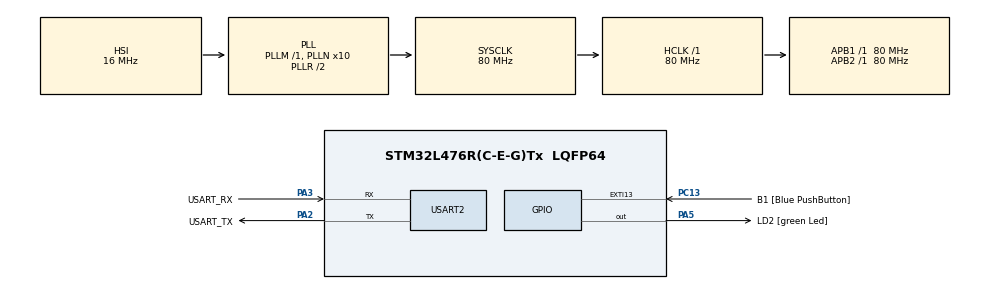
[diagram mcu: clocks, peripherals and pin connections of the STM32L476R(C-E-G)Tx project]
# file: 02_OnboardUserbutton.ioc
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Mcu.Family=STM32L4
Mcu.Name=STM32L476R(C-E-G)Tx
Mcu.Package=LQFP64
NVIC.PriorityGroup=NVIC_PRIORITYGROUP_4
PA13\ (JTMS-SWDIO).GPIO_Label=TMS
PA13\ (JTMS-SWDIO).Mode=Serial_Wire
PA13\ (JTMS-SWDIO).Signal=SYS_JTMS-SWDIO
PA14\ (JTCK-SWCLK).GPIO_Label=TCK
PA14\ (JTCK-SWCLK).Mode=Serial_Wire
PA14\ (JTCK-SWCLK).Signal=SYS_JTCK-SWCLK
PA2.GPIO_Label=USART_TX
PA2.GPIO_Mode=GPIO_MODE_AF_PP
PA2.GPIO_PuPd=GPIO_NOPULL
PA2.GPIO_Speed=GPIO_SPEED_FREQ_VERY_HIGH
PA2.Mode=Asynchronous
PA2.Signal=USART2_TX
PA3.GPIO_Label=USART_RX
PA3.GPIO_Mode=GPIO_MODE_AF_PP
PA3.GPIO_PuPd=GPIO_NOPULL
PA3.GPIO_Speed=GPIO_SPEED_FREQ_VERY_HIGH
PA3.Mode=Asynchronous
PA3.Signal=USART2_RX
PA5.GPIO_Label=LD2 [green Led]
PA5.GPIO_ModeDefaultOutputPP=GPIO_MODE_OUTPUT_PP
PA5.GPIO_PuPd=GPIO_NOPULL
PA5.GPIO_Speed=GPIO_SPEED_FREQ_LOW
PA5.Signal=GPIO_Output
PB3\ (JTDO-TRACESWO).GPIO_Label=SWO
PB3\ (JTDO-TRACESWO).Signal=SYS_JTDO-SWO
PC13.GPIO_Label=B1 [Blue PushButton]
PC13.GPIO_ModeDefaultEXTI=GPIO_MODE_IT_FALLING
PC13.GPIO_PuPd=GPIO_NOPULL
PC13.Signal=GPXTI13
PC14-OSC32_IN\ (PC14).Mode=LSE-External-Oscillator
PC14-OSC32_IN\ (PC14).Signal=RCC_OSC32_IN
PC15-OSC32_OUT\ (PC15).Mode=LSE-External-Oscillator
PC15-OSC32_OUT\ (PC15).Signal=RCC_OSC32_OUT
PH0-OSC_IN\ (PH0).Signal=RCC_OSC_IN
PH1-OSC_OUT\ (PH1).Signal=RCC_OSC_OUT
ProjectManager.HeapSize=0x200
ProjectManager.StackSize=0x400
ProjectManager.TargetToolchain=STM32CubeIDE
RCC.ADCFreq_Value=64000000
RCC.AHBFreq_Value=80000000
RCC.APB1Freq_Value=80000000
RCC.APB1TimFreq_Value=80000000
RCC.APB2Freq_Value=80000000
RCC.APB2TimFreq_Value=80000000
RCC.CortexFreq_Value=80000000
RCC.HCLKFreq_Value=80000000
RCC.HSE_VALUE=8000000
RCC.HSI_VALUE=16000000
RCC.MSI_VALUE=4000000
RCC.PLLN=10
RCC.PLLSourceVirtual=RCC_PLLSOURCE_HSI
RCC.PREFETCH_ENABLE=1
RCC.SYSCLKFreq_VALUE=80000000
RCC.SYSCLKSource=RCC_SYSCLKSOURCE_PLLCLK
RCC.USBFreq_Value=64000000
RCC.VCOOutputFreq_Value=160000000
USART2.VirtualMode-Asynchronous=VM_ASYNC
board=NUCLEO-L476RG

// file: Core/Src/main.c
/* USER CODE BEGIN Header */
/**
  ******************************************************************************
  * @file           : main.c
  * @brief          : Main program body
  ******************************************************************************
  * @attention
  *
  * Copyright (c) 2025 STMicroelectronics.
  * All rights reserved.
  *
  * This software is licensed under terms that can be found in the LICENSE file
  * in the root directory of this software component.
  * If no LICENSE file comes with this software, it is provided AS-IS.
  *
  ******************************************************************************
  */
/* USER CODE END Header */
#include "main.h"

/* USER CODE BEGIN Includes */
#include <stdbool.h>
#include <stdio.h>
#include <stdarg.h>
/* USER CODE END Includes */

/* USER CODE BEGIN PD */
#define PRIME_LEN 62
/* USER CODE END PD */

UART_HandleTypeDef huart2;

/* USER CODE BEGIN PV */
uint16_t primes[PRIME_LEN]={0};
/* USER CODE END PV */

void SystemClock_Config(void);
static void MX_GPIO_Init(void);
static void MX_USART2_UART_Init(void);

/* USER CODE BEGIN 0 */
bool is_prime(uint16_t v){
	for(uint16_t i=2;i<(v/2+1);i++){
		if(v%i==0) return false;
	}
	return true;
}
void debug_printf(const char *fmt, ...) {
  char buffer[256];
  va_list args;
  va_start(args, fmt);
  vsnprintf(buffer, sizeof(buffer), fmt, args);
  va_end(args);

  uint16_t i = 0;
  while(buffer[i] != '\0') {
    ITM_SendChar(buffer[i]);
    i++;
  }

}
/* USER CODE END 0 */

int main(void)
{

  /* MCU Configuration--------------------------------------------------------*/

  /* Reset of all peripherals, Initializes the Flash interface and the Systick. */
  HAL_Init();

  /* Configure the system clock */
  SystemClock_Config();

  /* Initialize all configured peripherals */
  MX_GPIO_Init();
  MX_USART2_UART_Init();
  /* USER CODE BEGIN 2 */
//calculate list of primes
  uint16_t prime_index=0;

    for(uint16_t i=2;i<300;i++){
  	  if(is_prime(i)){
  		  primes[prime_index]=i;
  		  prime_index++;
  	  }
    }
    bool flag=true;
  /* USER CODE END 2 */

  /* Infinite loop */
  while (1)
  {

    /* USER CODE BEGIN 3 */
	  HAL_GPIO_TogglePin(LD2_GPIO_Port, LD2_Pin);
	  	  if(flag==true){
	  		  debug_printf("LED_ON\n");
	  		  flag=false;
	  	  }
	  	  else{
	  		  debug_printf("LED_OFF\n");
	  		  flag=true;
	  	  }
	  	  HAL_UART_Transmit(&huart2, (uint8_t*)"Hello world, this is a UART\r\n", 30, 1000);
	  	  HAL_Delay(1000);

	    }

  }
  /* USER CODE END 3 */

void SystemClock_Config(void)
{
  RCC_OscInitTypeDef RCC_OscInitStruct = {0};
  RCC_ClkInitTypeDef RCC_ClkInitStruct = {0};

  /** Configure the main internal regulator output voltage
  */
  if (HAL_PWREx_ControlVoltageScaling(PWR_REGULATOR_VOLTAGE_SCALE1) != HAL_OK)
  {
    Error_Handler();
  }

  /** Initializes the RCC Oscillators according to the specified parameters
  * in the RCC_OscInitTypeDef structure.
  */
  RCC_OscInitStruct.OscillatorType = RCC_OSCILLATORTYPE_HSI;
  RCC_OscInitStruct.HSIState = RCC_HSI_ON;
  RCC_OscInitStruct.HSICalibrationValue = RCC_HSICALIBRATION_DEFAULT;
  RCC_OscInitStruct.PLL.PLLState = RCC_PLL_ON;
  RCC_OscInitStruct.PLL.PLLSource = RCC_PLLSOURCE_HSI;
  RCC_OscInitStruct.PLL.PLLM = 1;
  RCC_OscInitStruct.PLL.PLLN = 10;
  RCC_OscInitStruct.PLL.PLLP = RCC_PLLP_DIV7;
  RCC_OscInitStruct.PLL.PLLQ = RCC_PLLQ_DIV2;
  RCC_OscInitStruct.PLL.PLLR = RCC_PLLR_DIV2;
  if (HAL_RCC_OscConfig(&RCC_OscInitStruct) != HAL_OK)
  {
    Error_Handler();
  }

  /** Initializes the CPU, AHB and APB buses clocks
  */
  RCC_ClkInitStruct.ClockType = RCC_CLOCKTYPE_HCLK|RCC_CLOCKTYPE_SYSCLK
                              |RCC_CLOCKTYPE_PCLK1|RCC_CLOCKTYPE_PCLK2;
  RCC_ClkInitStruct.SYSCLKSource = RCC_SYSCLKSOURCE_PLLCLK;
  RCC_ClkInitStruct.AHBCLKDivider = RCC_SYSCLK_DIV1;
  RCC_ClkInitStruct.APB1CLKDivider = RCC_HCLK_DIV1;
  RCC_ClkInitStruct.APB2CLKDivider = RCC_HCLK_DIV1;

  if (HAL_RCC_ClockConfig(&RCC_ClkInitStruct, FLASH_LATENCY_4) != HAL_OK)
  {
    Error_Handler();
  }
}
static void MX_USART2_UART_Init(void)
{

  huart2.Instance = USART2;
  huart2.Init.BaudRate = 115200;
  huart2.Init.WordLength = UART_WORDLENGTH_8B;
  huart2.Init.StopBits = UART_STOPBITS_1;
  huart2.Init.Parity = UART_PARITY_NONE;
  huart2.Init.Mode = UART_MODE_TX_RX;
  huart2.Init.HwFlowCtl = UART_HWCONTROL_NONE;
  huart2.Init.OverSampling = UART_OVERSAMPLING_16;
  huart2.Init.OneBitSampling = UART_ONE_BIT_SAMPLE_DISABLE;
  huart2.AdvancedInit.AdvFeatureInit = UART_ADVFEATURE_NO_INIT;
  if (HAL_UART_Init(&huart2) != HAL_OK)
  {
    Error_Handler();
  }

}

static void MX_GPIO_Init(void)
{
  GPIO_InitTypeDef GPIO_InitStruct = {0};

  /* GPIO Ports Clock Enable */
  __HAL_RCC_GPIOC_CLK_ENABLE();
  __HAL_RCC_GPIOH_CLK_ENABLE();
  __HAL_RCC_GPIOA_CLK_ENABLE();
  __HAL_RCC_GPIOB_CLK_ENABLE();

  /*Configure GPIO pin Output Level */
  HAL_GPIO_WritePin(LD2_GPIO_Port, LD2_Pin, GPIO_PIN_RESET);

  /*Configure GPIO pin : B1_Pin */
  GPIO_InitStruct.Pin = B1_Pin;
  GPIO_InitStruct.Mode = GPIO_MODE_IT_FALLING;
  GPIO_InitStruct.Pull = GPIO_NOPULL;
  HAL_GPIO_Init(B1_GPIO_Port, &GPIO_InitStruct);

  /*Configure GPIO pin : LD2_Pin */
  GPIO_InitStruct.Pin = LD2_Pin;
  GPIO_InitStruct.Mode = GPIO_MODE_OUTPUT_PP;
  GPIO_InitStruct.Pull = GPIO_NOPULL;
  GPIO_InitStruct.Speed = GPIO_SPEED_FREQ_LOW;
  HAL_GPIO_Init(LD2_GPIO_Port, &GPIO_InitStruct);

}

void Error_Handler(void)
{
  __disable_irq();
  while (1)
  {
  }
}
